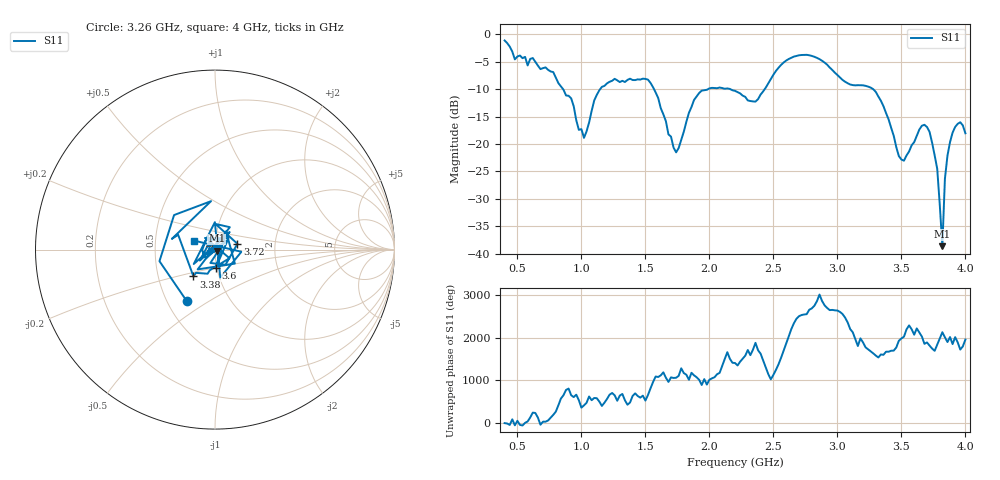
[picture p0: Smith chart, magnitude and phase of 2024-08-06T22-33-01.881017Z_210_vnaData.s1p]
!Created with skrf (http://scikit-rf.org).
# Hz S RI R 50.0
!freq ReS11 ImS11
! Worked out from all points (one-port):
!   181 points, 400 MHz to 4 GHz, reference 50 ohm
!   lowest |S11| = -38.6 dB at 3.82 GHz (marker M1), VSWR 1.02, Z = 51 - j0.606 ohm
!   |S11| at or under -10 dB: 856.7 MHz to 1.147 GHz (289.8 MHz wide, 28.9 % of centre); 1.567 GHz to 1.989 GHz (422 MHz wide, 23.7 % of centre); 3.28 GHz to end of sweep (the widest 3 of 4)
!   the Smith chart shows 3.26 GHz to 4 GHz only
!   S11 on the Smith chart (normalised r, x): 3.26 GHz: 0.63, -0.40; 3.38 GHz: 0.75, -0.23; 3.6 GHz: 0.99, -0.21; 3.72 GHz: 1.28, +0.08; 4 GHz: 0.79, +0.08
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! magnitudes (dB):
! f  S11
! 400 MHz  -1.1
! 480 MHz  -4.6
! 620 MHz  -4.3
! 860 MHz  -10.1
! 1.02 GHz  -18.9
! 1.14 GHz  -10.2
! 1.3 GHz  -8.7
! 1.52 GHz  -8.3
! 1.72 GHz  -20.7
! 1.76 GHz  -20.7
! 1.92 GHz  -10.7
! 2.2 GHz  -10.3
! 2.36 GHz  -12.3
! 2.66 GHz  -4.1
! 3.1 GHz  -9.2
! 3.26 GHz  -9.7
! 3.38 GHz  -14.4
! 3.48 GHz  -22.2
! 3.56 GHz  -21.4
! 3.6 GHz  -19.6
! 3.66 GHz  -16.7
! 3.72 GHz  -17.8
! 3.78 GHz  -24.5
! 3.82 GHz  -38.6
! 3.84 GHz  -26.3
! 3.88 GHz  -19.6
! 3.96 GHz  -16.0
! 4 GHz  -18.0
